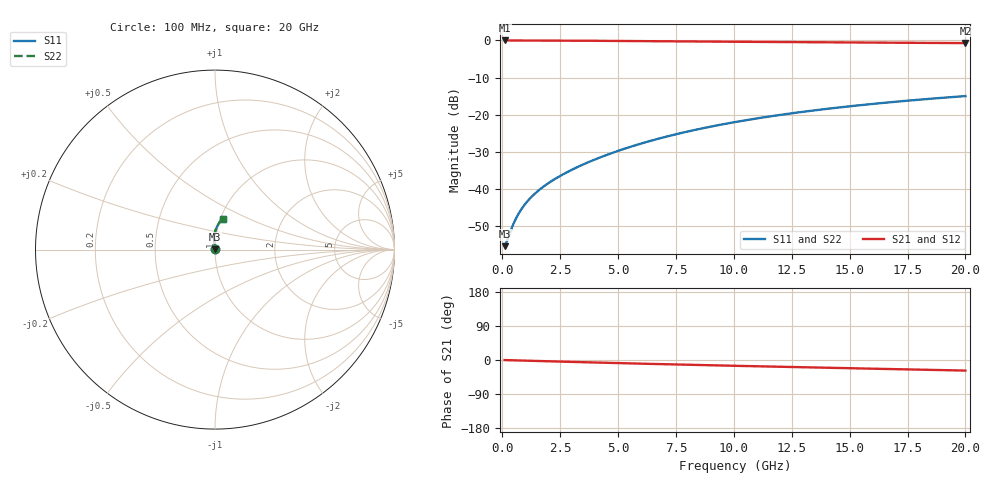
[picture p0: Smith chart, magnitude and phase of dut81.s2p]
! Touchstone file exported from HFSS 2024.1.0
!  File:  C:/UserFiles/LocalFiles/RDL_TSV_Batchsim/temp_RDL_top_81_1778682471.aedt
!  Generated:  10:29:58 PM May 13, 2026
!  Design:  RDL_top
!  Project:  temp_RDL_top_81_1778682471
!  Setup:  Setup1
!  Solution:  Sweep
! Variables:
!  dtsv = 10.80580581um
!  hbump = 3um
!  htsv = 95.79um
!  ldown = 100um
!  lrdl = 464.84um
!  p = 40
!  p1 = 40.81um
!  rhole = 1um
!  t = 450um
!  tdown = 3.915915916um
!  trdl = 4.77um
!  wdown = 15.38538539um
!  wrdl = 27.01um
# GHz S MA R 50.000000
! Terminal data exported
! Port[1] = Box2_T1
! Port[2] = Box2_T2
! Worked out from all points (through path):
!   200 points, 100 MHz to 20 GHz, reference 50 ohm
!   highest |S21| = -0.01 dB at 100 MHz (marker M1); lowest = -0.7 dB at 20 GHz (marker M2)
!   group delay of S21, straight-line fit = 3.81 ps
!   lowest |S11| = -55.4 dB at 100 MHz (marker M3), VSWR 1.00, Z = 50.2 + j0.0797 ohm
!   |S11| at or under -10 dB: start of sweep to end of sweep
!   |S22| runs from -55.4 to -15.0 dB; largest |S21 - S12| = 2.9e-15
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0.1  0.001704 27.8  0.9985 -0.2  0.9985 -0.2  0.001704 27.8
! Gamma 0 0 0 0
! Port Impedance 50 0 50 0
0.2  0.001993 44.9  0.9983 -0.4  0.9983 -0.4  0.001997 45.1
0.4  0.002952 62.2  0.998 -0.7  0.998 -0.7  0.002959 62.3
0.5  0.003502 66.7  0.9978 -0.9  0.9978 -0.9  0.00351 66.9
0.6  0.004068 70.0  0.9977 -1.0  0.9977 -1.0  0.004076 70.1
0.7  0.004641 72.4  0.9976 -1.2  0.9976 -1.2  0.004649 72.5
0.9  0.00579 75.8  0.9973 -1.6  0.9973 -1.6  0.005799 75.9
1.2  0.007503 79.2  0.9968 -2.1  0.9968 -2.1  0.007511 79.3
1.6  0.009772 82.5  0.996 -2.7  0.996 -2.7  0.009778 82.5
2.1  0.01265 85.7  0.9948 -3.6  0.9948 -3.6  0.01265 85.6
2.7  0.01626 88.7  0.9929 -4.6  0.9929 -4.6  0.01626 88.7
3.5  0.02147 91.8  0.9899 -5.8  0.9899 -5.8  0.02147 91.8
4.2  0.02646 93.7  0.987 -7.0  0.987 -7.0  0.02646 93.7
5  0.03263 95.1  0.9833 -8.2  0.9833 -8.2  0.03263 95.1
5.9  0.04013 95.7  0.979 -9.5  0.979 -9.5  0.04013 95.7
6.8  0.04812 95.7  0.9746 -10.8  0.9746 -10.8  0.04813 95.7
8.4  0.06326 94.6  0.9668 -13.1  0.9668 -13.1  0.06326 94.6
10.1  0.08015 92.5  0.9588 -15.4  0.9588 -15.4  0.08016 92.5
11.7  0.0964 90.1  0.9517 -17.5  0.9517 -17.5  0.09641 90.1
13.4  0.1137 87.3  0.9446 -19.7  0.9446 -19.7  0.1137 87.3
16.7  0.1467 81.7  0.9318 -23.8  0.9318 -23.8  0.1467 81.7
20  0.1783 76.3  0.9199 -27.9  0.9199 -27.9  0.1783 76.3
